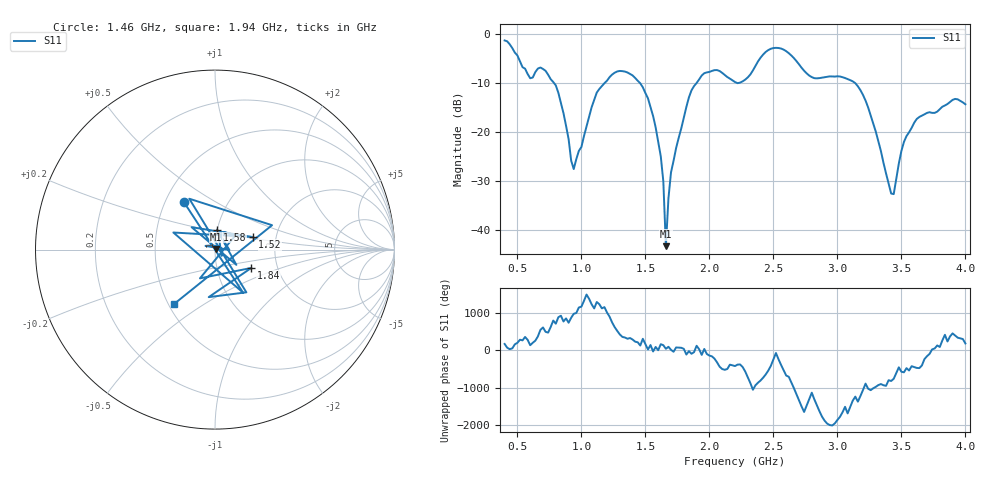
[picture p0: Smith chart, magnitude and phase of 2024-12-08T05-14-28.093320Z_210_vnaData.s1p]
!Created with skrf (http://scikit-rf.org).
# Hz S RI R 50.0
!freq ReS11 ImS11
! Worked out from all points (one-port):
!   181 points, 400 MHz to 4 GHz, reference 50 ohm
!   lowest |S11| = -43.2 dB at 1.66 GHz (marker M1), VSWR 1.01, Z = 50.6 + j0.414 ohm
!   |S11| at or under -10 dB: 786.9 MHz to 1.18 GHz (393.1 MHz wide, 40 % of centre); 1.459 GHz to 1.899 GHz (439.8 MHz wide, 26.2 % of centre); 3.14 GHz to end of sweep
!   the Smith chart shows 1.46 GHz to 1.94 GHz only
!   S11 on the Smith chart (normalised r, x): 1.46 GHz: 0.62, +0.37; 1.52 GHz: 1.51, +0.22; 1.58 GHz: 1.00, +0.23; 1.84 GHz: 1.47, -0.32; 1.94 GHz: 0.54, -0.38
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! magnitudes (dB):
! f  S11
! 400 MHz  -1.3
! 600 MHz  -9.0
! 720 MHz  -7.5
! 800 MHz  -10.5
! 860 MHz  -16.1
! 940 MHz  -27.5
! 1.12 GHz  -11.9
! 1.3 GHz  -7.5
! 1.46 GHz  -10.0
! 1.52 GHz  -13.1
! 1.58 GHz  -19.0
! 1.64 GHz  -30.0
! 1.66 GHz  -43.2
! 1.68 GHz  -33.5
! 1.7 GHz  -28.2
! 1.76 GHz  -21.2
! 1.84 GHz  -12.9
! 1.94 GHz  -8.4
! 2.2 GHz  -9.8
! 2.48 GHz  -3.0
! 2.66 GHz  -4.9
! 2.82 GHz  -9.0
! 3.1 GHz  -9.4
! 3.24 GHz  -14.9
! 3.42 GHz  -32.5
! 3.56 GHz  -20.0
! 3.9 GHz  -13.4
! 4 GHz  -14.3
